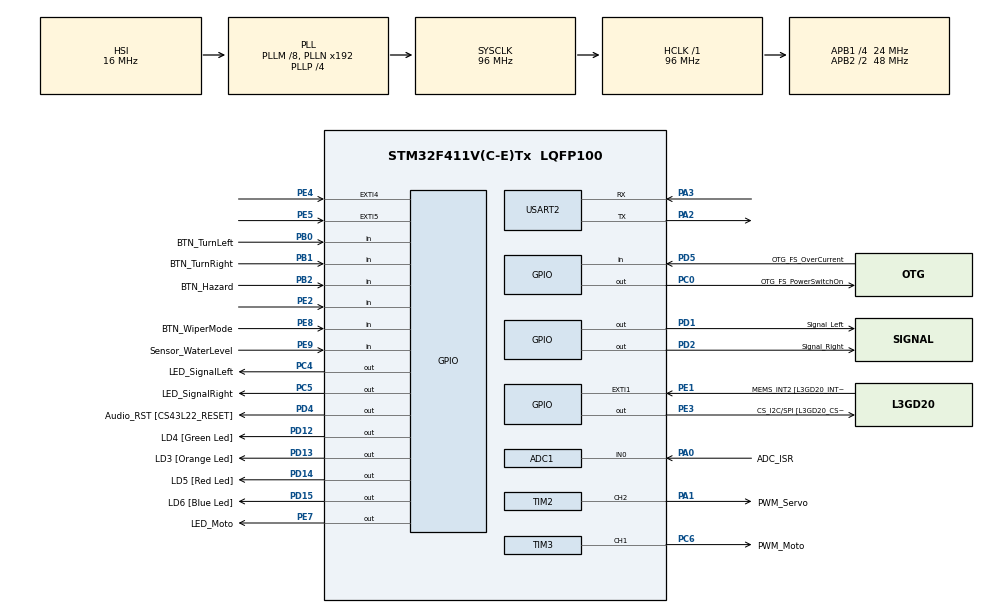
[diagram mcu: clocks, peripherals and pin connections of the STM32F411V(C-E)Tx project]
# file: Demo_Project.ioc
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ADC1.Channel-0\#ChannelRegularConversion=ADC_CHANNEL_0
ADC1.ClockPrescaler=ADC_CLOCK_SYNC_PCLK_DIV2
ADC1.NbrOfConversionFlag=1
ADC1.Rank-0\#ChannelRegularConversion=1
ADC1.SamplingTime-0\#ChannelRegularConversion=ADC_SAMPLETIME_3CYCLES
ADC1.master=1
Mcu.Family=STM32F4
Mcu.Name=STM32F411V(C-E)Tx
Mcu.Package=LQFP100
NVIC.PriorityGroup=NVIC_PRIORITYGROUP_4
NVIC.USART2_IRQn=true\:0\:0\:false\:false\:true\:true\:true\:true
PA0-WKUP.GPIO_Label=ADC_ISR
PA0-WKUP.Signal=ADCx_IN0
PA1.GPIO_Label=PWM_Servo
PA1.Signal=S_TIM2_CH2
PA10.GPIO_Label=OTG_FS_ID
PA10.Signal=USB_OTG_FS_ID
PA11.GPIO_Label=OTG_FS_DM
PA11.Signal=USB_OTG_FS_DM
PA12.GPIO_Label=OTG_FS_DP
PA12.Signal=USB_OTG_FS_DP
PA13.GPIO_Label=SWDIO
PA13.Mode=Serial_Wire
PA13.Signal=SYS_JTMS-SWDIO
PA14.GPIO_Label=SWCLK
PA14.Mode=Serial_Wire
PA14.Signal=SYS_JTCK-SWCLK
PA2.Mode=Asynchronous
PA2.Signal=USART2_TX
PA3.Mode=Asynchronous
PA3.Signal=USART2_RX
PA4.GPIO_Label=I2S3_WS [CS43L22_LRCK]
PA4.GPIO_Mode=GPIO_MODE_AF_PP
PA4.GPIO_PuPd=GPIO_NOPULL
PA4.GPIO_Speed=GPIO_SPEED_FREQ_LOW
PA4.Signal=I2S3_WS
PA5.GPIO_Label=SPI1_SCK [L3GD20_SC/SPC]
PA5.Signal=SPI1_SCK
PA6.GPIO_Label=SPI1_MISO [L3GD20_AS0/SDO]
PA6.Signal=SPI1_MISO
PA7.GPIO_Label=SPI1_MOSI [L3GD20_SDA/SDI/SDO]
PA7.Signal=SPI1_MOSI
PA9.GPIO_Label=VBUS_FS
PA9.Signal=USB_OTG_FS_VBUS
PB0.GPIO_Label=BTN_TurnLeft
PB0.GPIO_PuPd=GPIO_PULLUP
PB0.Signal=GPIO_Input
PB1.GPIO_Label=BTN_TurnRight
PB1.GPIO_PuPd=GPIO_PULLUP
PB1.Signal=GPIO_Input
PB10.GPIO_Label=CLK_IN [MP45DT02_CLK]
PB10.Signal=I2S2_CK
PB12.Signal=I2S2_WS
PB2.GPIO_Label=BTN_Hazard
PB2.GPIO_PuPd=GPIO_PULLUP
PB2.Signal=GPIO_Input
PB3.GPIO_Label=SWO
PB3.Signal=SYS_JTDO-SWO
PB6.GPIO_Label=Audio_SCL [CS43L22_SCL]
PB6.GPIO_Mode=GPIO_MODE_AF_OD
PB6.GPIO_PuPd=GPIO_NOPULL
PB6.GPIO_Speed=GPIO_SPEED_FREQ_LOW
PB6.Signal=I2C1_SCL
PB9.GPIO_Label=Audio_SDA [CS43L22_SDA]
PB9.GPIO_Mode=GPIO_MODE_AF_OD
PB9.GPIO_PuPd=GPIO_NOPULL
PB9.GPIO_Speed=GPIO_SPEED_FREQ_LOW
PB9.Signal=I2C1_SDA
PC0.GPIO_Label=OTG_FS_PowerSwitchOn
PC0.PinState=GPIO_PIN_SET
PC0.Signal=GPIO_Output
PC10.GPIO_Label=I2S3_SCK [CS43L22_SCLK]
PC10.GPIO_Mode=GPIO_MODE_AF_PP
PC10.GPIO_PuPd=GPIO_NOPULL
PC10.GPIO_Speed=GPIO_SPEED_FREQ_LOW
PC10.Signal=I2S3_CK
PC12.GPIO_Label=I2S3_SD [CS43L22_SDIN]
PC12.GPIO_Mode=GPIO_MODE_AF_PP
PC12.GPIO_PuPd=GPIO_NOPULL
PC12.GPIO_Speed=GPIO_SPEED_FREQ_LOW
PC12.Signal=I2S3_SD
PC14-OSC32_IN.GPIO_Label=PC14-OSC32_IN
PC14-OSC32_IN.Signal=RCC_OSC32_IN
PC15-OSC32_OUT.GPIO_Label=PC15-OSC32_OUT
PC15-OSC32_OUT.Signal=RCC_OSC32_OUT
PC3.GPIO_Label=PDM_OUT [MP45DT02_DOUT]
PC3.Signal=I2S2_SD
PC4.GPIO_Label=LED_SignalLeft
PC4.Signal=GPIO_Output
PC5.GPIO_Label=LED_SignalRight
PC5.Signal=GPIO_Output
PC6.GPIO_Label=PWM_Moto
PC6.Signal=S_TIM3_CH1
PC7.GPIO_Label=I2S3_MCK [CS43L22_MCLK]
PC7.GPIO_Mode=GPIO_MODE_AF_PP
PC7.GPIO_PuPd=GPIO_NOPULL
PC7.GPIO_Speed=GPIO_SPEED_FREQ_LOW
PC7.Signal=I2S3_MCK
PD1.GPIO_Label=Signal_Left
PD1.Signal=GPIO_Output
PD12.GPIO_Label=LD4 [Green Led]
PD12.GPIO_PuPd=GPIO_NOPULL
PD12.GPIO_Speed=GPIO_SPEED_FREQ_LOW
PD12.Signal=GPIO_Output
PD13.GPIO_Label=LD3 [Orange Led]
PD13.GPIO_PuPd=GPIO_NOPULL
PD13.GPIO_Speed=GPIO_SPEED_FREQ_LOW
PD13.Signal=GPIO_Output
PD14.GPIO_Label=LD5 [Red Led]
PD14.GPIO_PuPd=GPIO_NOPULL
PD14.GPIO_Speed=GPIO_SPEED_FREQ_LOW
PD14.Signal=GPIO_Output
PD15.GPIO_Label=LD6 [Blue Led]
PD15.GPIO_PuPd=GPIO_NOPULL
PD15.GPIO_Speed=GPIO_SPEED_FREQ_LOW
PD15.Signal=GPIO_Output
PD2.GPIO_Label=Signal_Right
PD2.Signal=GPIO_Output
PD4.GPIO_Label=Audio_RST [CS43L22_RESET]
PD4.Signal=GPIO_Output
PD5.GPIO_Label=OTG_FS_OverCurrent
PD5.Signal=GPIO_Input
PE1.GPIO_Label=MEMS_INT2 [L3GD20_INT2]
PE1.GPIO_ModeDefaultEXTI=GPIO_MODE_EVT_RISING
PE1.Signal=GPXTI1
PE2.Signal=GPIO_Input
PE3.GPIO_Label=CS_I2C/SPI [L3GD20_CS_I2C/SPI]
PE3.Signal=GPIO_Output
PE4.GPIO_ModeDefaultEXTI=GPIO_MODE_EVT_RISING
PE4.Signal=GPXTI4
PE5.GPIO_ModeDefaultEXTI=GPIO_MODE_EVT_RISING
PE5.Signal=GPXTI5
PE7.GPIO_Label=LED_Moto
PE7.Signal=GPIO_Output
PE8.GPIO_Label=BTN_WiperMode
PE8.GPIO_PuPd=GPIO_PULLUP
PE8.Signal=GPIO_Input
PE9.GPIO_Label=Sensor_WaterLevel
PE9.Signal=GPIO_Input
PH0\ -\ OSC_IN.GPIO_Label=PH0-OSC_IN
PH0\ -\ OSC_IN.Mode=HSE-External-Oscillator
PH0\ -\ OSC_IN.Signal=RCC_OSC_IN
PH1\ -\ OSC_OUT.GPIO_Label=PH1-OSC_OUT
PH1\ -\ OSC_OUT.Mode=HSE-External-Oscillator
PH1\ -\ OSC_OUT.Signal=RCC_OSC_OUT
ProjectManager.HeapSize=0x200
ProjectManager.StackSize=0x400
ProjectManager.TargetToolchain=STM32CubeIDE
RCC.48MHZClocksFreq_Value=48000000
RCC.AHBFreq_Value=96000000
RCC.APB1CLKDivider=RCC_HCLK_DIV4
RCC.APB1Freq_Value=24000000
RCC.APB1TimFreq_Value=48000000
RCC.APB2CLKDivider=RCC_HCLK_DIV2
RCC.APB2Freq_Value=48000000
RCC.APB2TimFreq_Value=96000000
RCC.CortexFreq_Value=96000000
RCC.HCLKFreq_Value=96000000
RCC.HSE_VALUE=8000000
RCC.HSI_VALUE=16000000
RCC.LSE_VALUE=32768
RCC.PLLI2SM=5
RCC.PLLI2SN=200
RCC.PLLM=8
RCC.PLLP=RCC_PLLP_DIV4
RCC.PLLQ=8
RCC.SYSCLKFreq_VALUE=96000000
RCC.SYSCLKSource=RCC_SYSCLKSOURCE_PLLCLK
RCC.VCOOutputFreq_Value=384000000
SH.ADCx_IN0.0=ADC1_IN0,IN0
SH.S_TIM2_CH2.0=TIM2_CH2,PWM Generation2 CH2
SH.S_TIM3_CH1.0=TIM3_CH1,PWM Generation1 CH1
TIM2.Channel-PWM\ Generation2\ CH2=TIM_CHANNEL_2
TIM2.Period=19999
TIM2.Prescaler=47
TIM3.Channel-PWM\ Generation1\ CH1=TIM_CHANNEL_1
TIM3.Period=999
TIM3.Prescaler=83
USART2.VirtualMode=VM_ASYNC
VP_TIM2_VS_ClockSourceINT.Mode=Internal
VP_TIM3_VS_ClockSourceINT.Mode=Internal
board=STM32F411E-DISCO

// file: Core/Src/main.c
/* USER CODE BEGIN Header */
/**
  ******************************************************************************
  * @file           : main.c
  * @brief          : Main program body
  ******************************************************************************
  * @attention
  *
  * Copyright (c) 2026 STMicroelectronics.
  * All rights reserved.
  *
  * This software is licensed under terms that can be found in the LICENSE file
  * in the root directory of this software component.
  * If no LICENSE file comes with this software, it is provided AS-IS.
  *
  ******************************************************************************
  */
/* USER CODE END Header */
#include <TX_data_UART.h>
#include "main.h"

/* USER CODE BEGIN Includes */
#include "turnsignal.h"
#include "wiper.h"
#include "can_messages.h"
#include "front_tx_task.h"
/* USER CODE END Includes */

ADC_HandleTypeDef hadc1;

TIM_HandleTypeDef htim2;
TIM_HandleTypeDef htim3;

UART_HandleTypeDef huart2;

/* USER CODE BEGIN PV */
volatile uint32_t leftHoldTime = 0, rightHoldTime = 0, wiperHoldTime = 0, hazardHoldTime=0;
volatile uint8_t leftHolding = 0, rightHolding = 0, wiperHolding = 0, hazardHolding = 0;
volatile uint8_t leftSent = 0, rightSent = 0, wiperSent = 0, hazardSent = 0;
volatile uint8_t err_counter = 0;

/* USER CODE END PV */

void SystemClock_Config(void);
static void MX_GPIO_Init(void);
static void MX_TIM2_Init(void);
static void MX_ADC1_Init(void);
static void MX_USART2_UART_Init(void);
static void MX_TIM3_Init(void);
/* USER CODE BEGIN PFP */
extern void Bridge_SendError(uint8_t errorCode, uint8_t errorMask);

/* USER CODE END PFP */

int main(void)
{

  /* MCU Configuration--------------------------------------------------------*/

  /* Reset of all peripherals, Initializes the Flash interface and the Systick. */
  HAL_Init();

  /* Configure the system clock */
  SystemClock_Config();

  /* Initialize all configured peripherals */
  MX_GPIO_Init();
  MX_TIM2_Init();
  MX_ADC1_Init();
  MX_USART2_UART_Init();
  MX_TIM3_Init();
  /* USER CODE BEGIN 2 */
  TurnSignal_Init();
  Bridge_Init(&huart2);
  Wiper_System_Init();
  /* USER CODE END 2 */

  /* Infinite loop */
  while (1)
  {

    /* USER CODE BEGIN 3 */
	  // 1. Xi-nhan Trái (Giữ > 1.5s -> DTC_B1030)
	        if (HAL_GPIO_ReadPin(GPIOB, BTN_TurnLeft_Pin) == GPIO_PIN_RESET) {
	            if (!leftHolding) {
	                leftHoldTime = HAL_GetTick();
	                leftHolding = 1;
	                leftSent = 0;
	            } else if (!leftSent && (HAL_GetTick() - leftHoldTime) >= 1500) {
	                err_counter++;
	                Bridge_SendFault(DTC_SEVERITY_ERROR, DTC_B1030, err_counter, ERR_ACTUATOR_STALL);
	                leftSent = 1; // Đã gửi xong, khóa lại cho đến khi nhả tay
	            }
	        } else {
	            leftHolding = 0;
	            leftSent = 0;
	        }

	        // 2. Xi-nhan Phải (Giữ > 1.5s -> DTC_B1031)
	        if (HAL_GPIO_ReadPin(GPIOB, BTN_TurnRight_Pin) == GPIO_PIN_RESET) {
	            if (!rightHolding) {
	                rightHoldTime = HAL_GetTick();
	                rightHolding = 1;
	                rightSent = 0;
	            } else if (!rightSent && (HAL_GetTick() - rightHoldTime) >= 1500) {
	                err_counter++;
	                Bridge_SendFault(DTC_SEVERITY_ERROR, DTC_B1031, err_counter, ERR_ACTUATOR_STALL);
	                rightSent = 1;
	            }
	        } else {
	            rightHolding = 0;
	            rightSent = 0;
	        }

	        // 3. Gạt mưa (Giữ > 1.5s -> DTC_B1010)
	        if (HAL_GPIO_ReadPin(GPIOE, BTN_WiperMode_Pin) == GPIO_PIN_RESET) {
	            if (!wiperHolding) {
	                wiperHoldTime = HAL_GetTick();
	                wiperHolding = 1;
	                wiperSent = 0;
	            } else if (!wiperSent && (HAL_GetTick() - wiperHoldTime) >= 1500) {
	                err_counter++;
	                Bridge_SendFault(DTC_SEVERITY_ERROR, DTC_B1010, err_counter, ERR_WIPER_STALL);
	                wiperSent = 1;
	            }
	        } else {
	            wiperHolding = 0;
	            wiperSent = 0;
	        }
	        // 4. Nút Hazard (Giữ > 1.5s -> Giả lập kẹt nút / chập mạch khẩn cấp)
			if (HAL_GPIO_ReadPin(GPIOB, BTN_Hazard_Pin) == GPIO_PIN_RESET) {
				if (!hazardHolding) {
					hazardHoldTime = HAL_GetTick();
					hazardHolding = 1;
					hazardSent = 0;
				} else if (!hazardSent && (HAL_GetTick() - hazardHoldTime) >= 1500) {
					err_counter++;
					// Có thể dùng mã DTC_B1030 hoặc một mã body tương đương để báo lỗi cụm công tắc/relay hazard
					Bridge_SendFault(DTC_SEVERITY_ERROR, DTC_B1030, err_counter, ERR_ACTUATOR_STALL);
					hazardSent = 1; // Khóa lại, chỉ gửi 1 lần cho đến khi nhả tay
				}
			} else {
				hazardHolding = 0;
				hazardSent = 0; // Khi nhả tay ra thì reset để cho phép test lại lần sau
			}

			Wiper_Task();
			HAL_Delay(100);
			TurnSignal_Task();
			Front_BCM_Periodic_TX_Task();
	    }
  /* USER CODE END 3 */
}

void SystemClock_Config(void)
{
  RCC_OscInitTypeDef RCC_OscInitStruct = {0};
  RCC_ClkInitTypeDef RCC_ClkInitStruct = {0};

  /** Configure the main internal regulator output voltage
  */
  __HAL_RCC_PWR_CLK_ENABLE();
  __HAL_PWR_VOLTAGESCALING_CONFIG(PWR_REGULATOR_VOLTAGE_SCALE1);

  /** Initializes the RCC Oscillators according to the specified parameters
  * in the RCC_OscInitTypeDef structure.
  */
  RCC_OscInitStruct.OscillatorType = RCC_OSCILLATORTYPE_HSI;
  RCC_OscInitStruct.HSIState = RCC_HSI_ON;
  RCC_OscInitStruct.HSICalibrationValue = RCC_HSICALIBRATION_DEFAULT;
  RCC_OscInitStruct.PLL.PLLState = RCC_PLL_ON;
  RCC_OscInitStruct.PLL.PLLSource = RCC_PLLSOURCE_HSI;
  RCC_OscInitStruct.PLL.PLLM = 8;
  RCC_OscInitStruct.PLL.PLLN = 192;
  RCC_OscInitStruct.PLL.PLLP = RCC_PLLP_DIV4;
  RCC_OscInitStruct.PLL.PLLQ = 8;
  if (HAL_RCC_OscConfig(&RCC_OscInitStruct) != HAL_OK)
  {
    Error_Handler();
  }

  /** Initializes the CPU, AHB and APB buses clocks
  */
  RCC_ClkInitStruct.ClockType = RCC_CLOCKTYPE_HCLK|RCC_CLOCKTYPE_SYSCLK
                              |RCC_CLOCKTYPE_PCLK1|RCC_CLOCKTYPE_PCLK2;
  RCC_ClkInitStruct.SYSCLKSource = RCC_SYSCLKSOURCE_PLLCLK;
  RCC_ClkInitStruct.AHBCLKDivider = RCC_SYSCLK_DIV1;
  RCC_ClkInitStruct.APB1CLKDivider = RCC_HCLK_DIV4;
  RCC_ClkInitStruct.APB2CLKDivider = RCC_HCLK_DIV2;

  if (HAL_RCC_ClockConfig(&RCC_ClkInitStruct, FLASH_LATENCY_3) != HAL_OK)
  {
    Error_Handler();
  }
}

static void MX_ADC1_Init(void)
{

  ADC_ChannelConfTypeDef sConfig = {0};

  /** Configure the global features of the ADC (Clock, Resolution, Data Alignment and number of conversion)
  */
  hadc1.Instance = ADC1;
  hadc1.Init.ClockPrescaler = ADC_CLOCK_SYNC_PCLK_DIV2;
  hadc1.Init.Resolution = ADC_RESOLUTION_12B;
  hadc1.Init.ScanConvMode = DISABLE;
  hadc1.Init.ContinuousConvMode = DISABLE;
  hadc1.Init.DiscontinuousConvMode = DISABLE;
  hadc1.Init.ExternalTrigConvEdge = ADC_EXTERNALTRIGCONVEDGE_NONE;
  hadc1.Init.ExternalTrigConv = ADC_SOFTWARE_START;
  hadc1.Init.DataAlign = ADC_DATAALIGN_RIGHT;
  hadc1.Init.NbrOfConversion = 1;
  hadc1.Init.DMAContinuousRequests = DISABLE;
  hadc1.Init.EOCSelection = ADC_EOC_SINGLE_CONV;
  if (HAL_ADC_Init(&hadc1) != HAL_OK)
  {
    Error_Handler();
  }

  /** Configure for the selected ADC regular channel its corresponding rank in the sequencer and its sample time.
  */
  sConfig.Channel = ADC_CHANNEL_0;
  sConfig.Rank = 1;
  sConfig.SamplingTime = ADC_SAMPLETIME_3CYCLES;
  if (HAL_ADC_ConfigChannel(&hadc1, &sConfig) != HAL_OK)
  {
    Error_Handler();
  }

}

static void MX_TIM2_Init(void)
{

  TIM_ClockConfigTypeDef sClockSourceConfig = {0};
  TIM_MasterConfigTypeDef sMasterConfig = {0};
  TIM_OC_InitTypeDef sConfigOC = {0};

  htim2.Instance = TIM2;
  htim2.Init.Prescaler = 47;
  htim2.Init.CounterMode = TIM_COUNTERMODE_UP;
  htim2.Init.Period = 19999;
  htim2.Init.ClockDivision = TIM_CLOCKDIVISION_DIV1;
  htim2.Init.AutoReloadPreload = TIM_AUTORELOAD_PRELOAD_DISABLE;
  if (HAL_TIM_Base_Init(&htim2) != HAL_OK)
  {
    Error_Handler();
  }
  sClockSourceConfig.ClockSource = TIM_CLOCKSOURCE_INTERNAL;
  if (HAL_TIM_ConfigClockSource(&htim2, &sClockSourceConfig) != HAL_OK)
  {
    Error_Handler();
  }
  if (HAL_TIM_PWM_Init(&htim2) != HAL_OK)
  {
    Error_Handler();
  }
  sMasterConfig.MasterOutputTrigger = TIM_TRGO_RESET;
  sMasterConfig.MasterSlaveMode = TIM_MASTERSLAVEMODE_DISABLE;
  if (HAL_TIMEx_MasterConfigSynchronization(&htim2, &sMasterConfig) != HAL_OK)
  {
    Error_Handler();
  }
  sConfigOC.OCMode = TIM_OCMODE_PWM1;
  sConfigOC.Pulse = 0;
  sConfigOC.OCPolarity = TIM_OCPOLARITY_HIGH;
  sConfigOC.OCFastMode = TIM_OCFAST_DISABLE;
  if (HAL_TIM_PWM_ConfigChannel(&htim2, &sConfigOC, TIM_CHANNEL_2) != HAL_OK)
  {
    Error_Handler();
  }
  HAL_TIM_MspPostInit(&htim2);

}

static void MX_TIM3_Init(void)
{

  TIM_ClockConfigTypeDef sClockSourceConfig = {0};
  TIM_MasterConfigTypeDef sMasterConfig = {0};
  TIM_OC_InitTypeDef sConfigOC = {0};

  htim3.Instance = TIM3;
  htim3.Init.Prescaler = 83;
  htim3.Init.CounterMode = TIM_COUNTERMODE_UP;
  htim3.Init.Period = 999;
  htim3.Init.ClockDivision = TIM_CLOCKDIVISION_DIV1;
  htim3.Init.AutoReloadPreload = TIM_AUTORELOAD_PRELOAD_DISABLE;
  if (HAL_TIM_Base_Init(&htim3) != HAL_OK)
  {
    Error_Handler();
  }
  sClockSourceConfig.ClockSource = TIM_CLOCKSOURCE_INTERNAL;
  if (HAL_TIM_ConfigClockSource(&htim3, &sClockSourceConfig) != HAL_OK)
  {
    Error_Handler();
  }
  if (HAL_TIM_PWM_Init(&htim3) != HAL_OK)
  {
    Error_Handler();
  }
  sMasterConfig.MasterOutputTrigger = TIM_TRGO_RESET;
  sMasterConfig.MasterSlaveMode = TIM_MASTERSLAVEMODE_DISABLE;
  if (HAL_TIMEx_MasterConfigSynchronization(&htim3, &sMasterConfig) != HAL_OK)
  {
    Error_Handler();
  }
  sConfigOC.OCMode = TIM_OCMODE_PWM1;
  sConfigOC.Pulse = 0;
  sConfigOC.OCPolarity = TIM_OCPOLARITY_HIGH;
  sConfigOC.OCFastMode = TIM_OCFAST_DISABLE;
  if (HAL_TIM_PWM_ConfigChannel(&htim3, &sConfigOC, TIM_CHANNEL_1) != HAL_OK)
  {
    Error_Handler();
  }
  HAL_TIM_MspPostInit(&htim3);

}

static void MX_USART2_UART_Init(void)
{

  huart2.Instance = USART2;
  huart2.Init.BaudRate = 115200;
  huart2.Init.WordLength = UART_WORDLENGTH_8B;
  huart2.Init.StopBits = UART_STOPBITS_1;
  huart2.Init.Parity = UART_PARITY_NONE;
  huart2.Init.Mode = UART_MODE_TX_RX;
  huart2.Init.HwFlowCtl = UART_HWCONTROL_NONE;
  huart2.Init.OverSampling = UART_OVERSAMPLING_16;
  if (HAL_UART_Init(&huart2) != HAL_OK)
  {
    Error_Handler();
  }

}

static void MX_GPIO_Init(void)
{
  GPIO_InitTypeDef GPIO_InitStruct = {0};

  /* GPIO Ports Clock Enable */
  __HAL_RCC_GPIOE_CLK_ENABLE();
  __HAL_RCC_GPIOC_CLK_ENABLE();
  __HAL_RCC_GPIOH_CLK_ENABLE();
  __HAL_RCC_GPIOA_CLK_ENABLE();
  __HAL_RCC_GPIOB_CLK_ENABLE();
  __HAL_RCC_GPIOD_CLK_ENABLE();

  /*Configure GPIO pin Output Level */
  HAL_GPIO_WritePin(GPIOE, CS_I2C_SPI_Pin|LED_Moto_Pin, GPIO_PIN_RESET);

  /*Configure GPIO pin Output Level */
  HAL_GPIO_WritePin(OTG_FS_PowerSwitchOn_GPIO_Port, OTG_FS_PowerSwitchOn_Pin, GPIO_PIN_SET);

  /*Configure GPIO pin Output Level */
  HAL_GPIO_WritePin(GPIOC, LED_SignalLeft_Pin|LED_SignalRight_Pin, GPIO_PIN_RESET);

  /*Configure GPIO pin Output Level */
  HAL_GPIO_WritePin(GPIOD, LD4_Pin|LD3_Pin|LD5_Pin|LD6_Pin
                          |Signal_Left_Pin|Signal_Right_Pin|Audio_RST_Pin, GPIO_PIN_RESET);

  /*Configure GPIO pins : PE2 Sensor_WaterLevel_Pin */
  GPIO_InitStruct.Pin = GPIO_PIN_2|Sensor_WaterLevel_Pin;
  GPIO_InitStruct.Mode = GPIO_MODE_INPUT;
  GPIO_InitStruct.Pull = GPIO_NOPULL;
  HAL_GPIO_Init(GPIOE, &GPIO_InitStruct);

  /*Configure GPIO pins : CS_I2C_SPI_Pin LED_Moto_Pin */
  GPIO_InitStruct.Pin = CS_I2C_SPI_Pin|LED_Moto_Pin;
  GPIO_InitStruct.Mode = GPIO_MODE_OUTPUT_PP;
  GPIO_InitStruct.Pull = GPIO_NOPULL;
  GPIO_InitStruct.Speed = GPIO_SPEED_FREQ_LOW;
  HAL_GPIO_Init(GPIOE, &GPIO_InitStruct);

  /*Configure GPIO pins : PE4 PE5 MEMS_INT2_Pin */
  GPIO_InitStruct.Pin = GPIO_PIN_4|GPIO_PIN_5|MEMS_INT2_Pin;
  GPIO_InitStruct.Mode = GPIO_MODE_EVT_RISING;
  GPIO_InitStruct.Pull = GPIO_NOPULL;
  HAL_GPIO_Init(GPIOE, &GPIO_InitStruct);

  /*Configure GPIO pins : OTG_FS_PowerSwitchOn_Pin LED_SignalLeft_Pin LED_SignalRight_Pin */
  GPIO_InitStruct.Pin = OTG_FS_PowerSwitchOn_Pin|LED_SignalLeft_Pin|LED_SignalRight_Pin;
  GPIO_InitStruct.Mode = GPIO_MODE_OUTPUT_PP;
  GPIO_InitStruct.Pull = GPIO_NOPULL;
  GPIO_InitStruct.Speed = GPIO_SPEED_FREQ_LOW;
  HAL_GPIO_Init(GPIOC, &GPIO_InitStruct);

  /*Configure GPIO pin : PDM_OUT_Pin */
  GPIO_InitStruct.Pin = PDM_OUT_Pin;
  GPIO_InitStruct.Mode = GPIO_MODE_AF_PP;
  GPIO_InitStruct.Pull = GPIO_NOPULL;
  GPIO_InitStruct.Speed = GPIO_SPEED_FREQ_LOW;
  GPIO_InitStruct.Alternate = GPIO_AF5_SPI2;
  HAL_GPIO_Init(PDM_OUT_GPIO_Port, &GPIO_InitStruct);

  /*Configure GPIO pin : I2S3_WS_Pin */
  GPIO_InitStruct.Pin = I2S3_WS_Pin;
  GPIO_InitStruct.Mode = GPIO_MODE_AF_PP;
  GPIO_InitStruct.Pull = GPIO_NOPULL;
  GPIO_InitStruct.Speed = GPIO_SPEED_FREQ_LOW;
  GPIO_InitStruct.Alternate = GPIO_AF6_SPI3;
  HAL_GPIO_Init(I2S3_WS_GPIO_Port, &GPIO_InitStruct);

  /*Configure GPIO pins : SPI1_SCK_Pin SPI1_MISO_Pin SPI1_MOSI_Pin */
  GPIO_InitStruct.Pin = SPI1_SCK_Pin|SPI1_MISO_Pin|SPI1_MOSI_Pin;
  GPIO_InitStruct.Mode = GPIO_MODE_AF_PP;
  GPIO_InitStruct.Pull = GPIO_NOPULL;
  GPIO_InitStruct.Speed = GPIO_SPEED_FREQ_VERY_HIGH;
  GPIO_InitStruct.Alternate = GPIO_AF5_SPI1;
  HAL_GPIO_Init(GPIOA, &GPIO_InitStruct);

  /*Configure GPIO pins : BTN_TurnLeft_Pin BTN_TurnRight_Pin BTN_Hazard_Pin */
  GPIO_InitStruct.Pin = BTN_TurnLeft_Pin|BTN_TurnRight_Pin|BTN_Hazard_Pin;
  GPIO_InitStruct.Mode = GPIO_MODE_INPUT;
  GPIO_InitStruct.Pull = GPIO_PULLUP;
  HAL_GPIO_Init(GPIOB, &GPIO_InitStruct);

  /*Configure GPIO pin : BTN_WiperMode_Pin */
  GPIO_InitStruct.Pin = BTN_WiperMode_Pin;
  GPIO_InitStruct.Mode = GPIO_MODE_INPUT;
  GPIO_InitStruct.Pull = GPIO_PULLUP;
  HAL_GPIO_Init(BTN_WiperMode_GPIO_Port, &GPIO_InitStruct);

  /*Configure GPIO pins : CLK_IN_Pin PB12 */
  GPIO_InitStruct.Pin = CLK_IN_Pin|GPIO_PIN_12;
  GPIO_InitStruct.Mode = GPIO_MODE_AF_PP;
  GPIO_InitStruct.Pull = GPIO_NOPULL;
  GPIO_InitStruct.Speed = GPIO_SPEED_FREQ_LOW;
  GPIO_InitStruct.Alternate = GPIO_AF5_SPI2;
  HAL_GPIO_Init(GPIOB, &GPIO_InitStruct);

  /*Configure GPIO pins : LD4_Pin LD3_Pin LD5_Pin LD6_Pin
                           Signal_Left_Pin Signal_Right_Pin Audio_RST_Pin */
  GPIO_InitStruct.Pin = LD4_Pin|LD3_Pin|LD5_Pin|LD6_Pin
                          |Signal_Left_Pin|Signal_Right_Pin|Audio_RST_Pin;
  GPIO_InitStruct.Mode = GPIO_MODE_OUTPUT_PP;
  GPIO_InitStruct.Pull = GPIO_NOPULL;
  GPIO_InitStruct.Speed = GPIO_SPEED_FREQ_LOW;
  HAL_GPIO_Init(GPIOD, &GPIO_InitStruct);

  /*Configure GPIO pins : I2S3_MCK_Pin I2S3_SCK_Pin I2S3_SD_Pin */
  GPIO_InitStruct.Pin = I2S3_MCK_Pin|I2S3_SCK_Pin|I2S3_SD_Pin;
  GPIO_InitStruct.Mode = GPIO_MODE_AF_PP;
  GPIO_InitStruct.Pull = GPIO_NOPULL;
  GPIO_InitStruct.Speed = GPIO_SPEED_FREQ_LOW;
  GPIO_InitStruct.Alternate = GPIO_AF6_SPI3;
  HAL_GPIO_Init(GPIOC, &GPIO_InitStruct);

  /*Configure GPIO pin : VBUS_FS_Pin */
  GPIO_InitStruct.Pin = VBUS_FS_Pin;
  GPIO_InitStruct.Mode = GPIO_MODE_INPUT;
  GPIO_InitStruct.Pull = GPIO_NOPULL;
  HAL_GPIO_Init(VBUS_FS_GPIO_Port, &GPIO_InitStruct);

  /*Configure GPIO pins : OTG_FS_ID_Pin OTG_FS_DM_Pin OTG_FS_DP_Pin */
  GPIO_InitStruct.Pin = OTG_FS_ID_Pin|OTG_FS_DM_Pin|OTG_FS_DP_Pin;
  GPIO_InitStruct.Mode = GPIO_MODE_AF_PP;
  GPIO_InitStruct.Pull = GPIO_NOPULL;
  GPIO_InitStruct.Speed = GPIO_SPEED_FREQ_VERY_HIGH;
  GPIO_InitStruct.Alternate = GPIO_AF10_OTG_FS;
  HAL_GPIO_Init(GPIOA, &GPIO_InitStruct);

  /*Configure GPIO pin : OTG_FS_OverCurrent_Pin */
  GPIO_InitStruct.Pin = OTG_FS_OverCurrent_Pin;
  GPIO_InitStruct.Mode = GPIO_MODE_INPUT;
  GPIO_InitStruct.Pull = GPIO_NOPULL;
  HAL_GPIO_Init(OTG_FS_OverCurrent_GPIO_Port, &GPIO_InitStruct);

  /*Configure GPIO pins : Audio_SCL_Pin Audio_SDA_Pin */
  GPIO_InitStruct.Pin = Audio_SCL_Pin|Audio_SDA_Pin;
  GPIO_InitStruct.Mode = GPIO_MODE_AF_OD;
  GPIO_InitStruct.Pull = GPIO_NOPULL;
  GPIO_InitStruct.Speed = GPIO_SPEED_FREQ_LOW;
  GPIO_InitStruct.Alternate = GPIO_AF4_I2C1;
  HAL_GPIO_Init(GPIOB, &GPIO_InitStruct);

}

void Error_Handler(void)
{
  __disable_irq();
  while (1)
  {
  }
}
